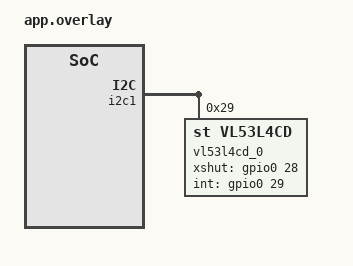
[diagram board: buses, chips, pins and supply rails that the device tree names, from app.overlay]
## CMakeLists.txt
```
# SPDX-FileCopyrightText: Copyright The Zephyr Project Contributors
# SPDX-License-Identifier: Apache-2.0

cmake_minimum_required(VERSION 3.20.0)
find_package(Zephyr REQUIRED HINTS $ENV{ZEPHYR_BASE})
project(vl53l4cd)

FILE(GLOB app_sources src/*.c)
target_sources(app PRIVATE ${app_sources})
```

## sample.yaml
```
sample:
  name: Sample for MEMS sensors VL53L4CD
  description: This sample demonstrates the use of the VL53L4CD MEMS sensor.
tests:
  sample.sensor.vl53l4cd:
    depends_on:
      - i2c
      - vl53l4cd
    tags:
      - sensors
    integration_platforms:
      - disco_l475_iot1
    harness: console
    harness_config:
      type: multi_line
      regex:
        - "prox is .*"
        - "distance is .*"
```

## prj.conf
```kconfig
# SPDX-FileCopyrightText: Copyright Alex Cave <alex.cave@outlook.com.au>
# SPDX-License-Identifier: Apache-2.0

CONFIG_STDOUT_CONSOLE=y
CONFIG_LOG=y
CONFIG_I2C=y
CONFIG_GPIO=y
CONFIG_SENSOR=y


CONFIG_VL53L4CD=y
CONFIG_VL53L4CD_XSHUT=y
CONFIG_VL53L4CD_INTERRUPT_MODE=y
```

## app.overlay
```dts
/*
 * SPDX-FileCopyrightText: Copyright The Zephyr Project Contributors
 * SPDX-License-Identifier: Apache-2.0
 * Copyright (c) 2026 Alex Cave <alex.cave@outlook.com.au>
 */

/ {
	aliases {
		distance0 = &vl53l4cd_0;
	};
};

&i2c1 {
	status = "okay";
};


&i2c1 {
	vl53l4cd_0: vl53l4cd@29 {
		compatible = "st,vl53l4cd";
		reg = <0x29>;
		status = "okay";
		xshut-gpios = <&gpio0 28 GPIO_ACTIVE_HIGH>;
		int-gpios = <&gpio0 29 GPIO_ACTIVE_HIGH>;
	};
};
```

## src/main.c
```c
/*
 * SPDX-FileCopyrightText: Copyright The Zephyr Project Contributors
 * SPDX-License-Identifier: Apache-2.0
 * Copyright (c) 2026 Alex Cave <alex.cave@outlook.com.au>
 */

#include <zephyr/kernel.h>
#include <zephyr/logging/log.h>
#include <zephyr/device.h>
#include <zephyr/devicetree.h>
#include <zephyr/drivers/gpio.h>
#include <zephyr/drivers/sensor.h>

LOG_MODULE_REGISTER(range, LOG_LEVEL_INF);

enum APP_MODE {
	APP_MODE_DEFAULT,
	APP_MODE_LOW_POWER,
	APP_MODE_ACCURACY,
	APP_MODE_HIGH_SPEED,
} app_mode = APP_MODE_DEFAULT;

static const struct device *sensor = DEVICE_DT_GET(DT_ALIAS(distance0));

static void fetch_and_display(const struct device *sensor, uint32_t count, enum APP_MODE mode,
			      bool proximity);
{
	int rc;
	struct sensor_value timing;

	switch (mode) {
	case APP_MODE_DEFAULT:
		break;
	case APP_MODE_LOW_POWER:
		LOG_INF("Timing budget of 100ms, and ranging period 1000ms (10% active ranging and "
			"90% low power)");
		timing.val1 = 100;
		timing.val2 = 1000;
		break;
	case APP_MODE_ACCURACY:
		LOG_INF("Timing budget of 200ms, and ranging period 200ms (100% active ranging)");
		timing.val1 = 200;
		timing.val2 = 0;
		break;
	case APP_MODE_HIGH_SPEED:
		LOG_INF("Timing budget of 10ms, and ranging period 10ms (100% active ranging)");
		LOG_INF("highest ranging frequency (100Hz)");
		timing.val1 = 10;
		timing.val2 = 0;
		break;
	default:
		LOG_ERR("Invalid application mode");
		return;
	}

	rc = sensor_attr_set(sensor, SENSOR_CHAN_DISTANCE, SENSOR_ATTR_SAMPLING_FREQUENCY, &timing);
	if (rc < 0) {
		LOG_ERR("ERROR: Set low power attribute failed: %d", rc);
		return;
	}

	if (proximity) {
		LOG_INF("Proximity mode enabled");
		struct sensor_value threshold;

		threshold.val1 = 100;
		rc = sensor_attr_set(sensor, SENSOR_CHAN_DISTANCE, SENSOR_ATTR_UPPER_THRESH,
				     &threshold);
		if (rc < 0) {
			LOG_ERR("ERROR: Set proximity attribute failed: %d", rc);
			return;
		}
	}

	LOG_INF("Start the sensor ranging...");
	rc = sensor_sample_fetch(sensor);
	if (rc < 0) {
		LOG_ERR("ERROR: Fetch failed: %d", rc);
		return;
	}

	LOG_INF("Place object within 100mm of the sensor to see proximity mode in action");
	while (true) {
		struct sensor_value distance;
		rc = sensor_channel_get(sensor, SENSOR_CHAN_DISTANCE, &distance);
		if (rc == EAGAIN) {
			LOG_DBG("VL53L4CD data not ready");
			continue;
		} else if (rc < 0) {
			LOG_ERR("ERROR: get failed: %d", rc);
			return;
		}
		LOG_INF("%s: Distance (mm) %d, Standard Deviation (mm) %d", sensor->name,
			distance.val1, distance.val2);
		k_sleep(K_MSEC(500));
	}
}

int main(void)
{
	LOG_INF("Initializing range sensor...");
	if (!device_is_ready(sensor)) {
		LOG_ERR("Error: Device \"%s\" is not ready", sensor->name);
		return -1;
	}

	fetch_and_display(sensor, 1000, app_mode, true);

	return 0;
}
```
